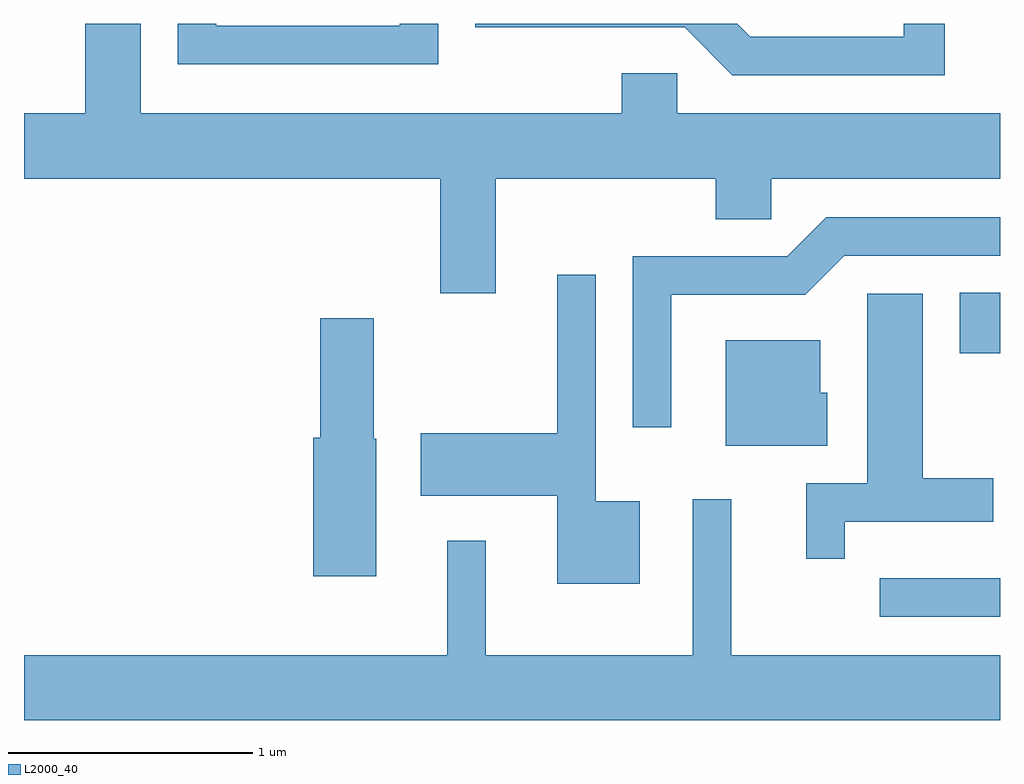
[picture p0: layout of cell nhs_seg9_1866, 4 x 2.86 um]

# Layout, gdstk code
import gdstk
lib = gdstk.Library(unit=1e-6, precision=1e-09)
def R(c, l, rs):  # rectangles x0, y0, x1, y1
    for r in rs: c.add(gdstk.rectangle(r[:2], r[2:], *l))
def P(c, l, *ps):  # polygons
    for p in ps: c.add(gdstk.Polygon(p, *l))
L2000_40 = (2000, 40)

nhs_seg9_1866 = lib.new_cell('nhs_seg9_1866')
R(nhs_seg9_1866, L2000_40, [(243.118,2010.001,243.611,2010.159), (243.446,2011.081,243.611,2011.329)])
P(nhs_seg9_1866, L2000_40, [(241.309,2012.432),(241.151,2012.432),(241.151,2012.424),(240.399,2012.424),(240.399,2012.432),(240.241,2012.432),(240.241,2012.266),(241.309,2012.266)],
  [(243.384,2012.432),(243.216,2012.432),(243.216,2012.379),(242.587,2012.379),(242.534,2012.432),(241.461,2012.432),(241.461,2012.416),(242.319,2012.416),(242.514,2012.221),(243.384,2012.221)],
  [(241.544,2011.796),(242.446,2011.796),(242.446,2011.631),(242.674,2011.631),(242.674,2011.796),(243.611,2011.796),(243.611,2012.064),(242.289,2012.064),(242.289,2012.229),(242.061,2012.229),(242.061,2012.064),(240.089,2012.064),(240.089,2012.432),(239.861,2012.432),(239.861,2012.064),(239.611,2012.064),(239.611,2011.796),(241.316,2011.796),(241.316,2011.326),(241.544,2011.326)],
  [(242.264,2011.321),(242.812,2011.321),(242.972,2011.481),(243.611,2011.481),(243.611,2011.639),(242.899,2011.639),(242.739,2011.479),(242.106,2011.479),(242.106,2010.778),(242.264,2010.778)],
  [(242.134,2010.474),(241.954,2010.474),(241.954,2011.403),(241.796,2011.403),(241.796,2010.754),(241.236,2010.754),(241.236,2010.496),(241.796,2010.496),(241.796,2010.136),(242.134,2010.136)],
  [(242.974,2010.391),(243.584,2010.391),(243.584,2010.569),(243.294,2010.569),(243.294,2011.324),(243.066,2011.324),(243.066,2010.549),(242.816,2010.549),(242.816,2010.238),(242.974,2010.238)],
  [(241.054,2010.73),(241.044,2010.73),(241.044,2011.224),(240.826,2011.224),(240.826,2010.734),(240.796,2010.734),(240.796,2010.166),(241.054,2010.166)],
  [(242.904,2010.919),(242.874,2010.919),(242.874,2011.134),(242.486,2011.134),(242.486,2010.701),(242.904,2010.701)],
  [(242.351,2010.483),(242.351,2009.844),(241.504,2009.844),(241.504,2010.313),(241.346,2010.313),(241.346,2009.844),(239.611,2009.844),(239.611,2009.576),(243.611,2009.576),(243.611,2009.844),(242.509,2009.844),(242.509,2010.483)])

lib.write_gds('nhs_seg9_1866.gds')
